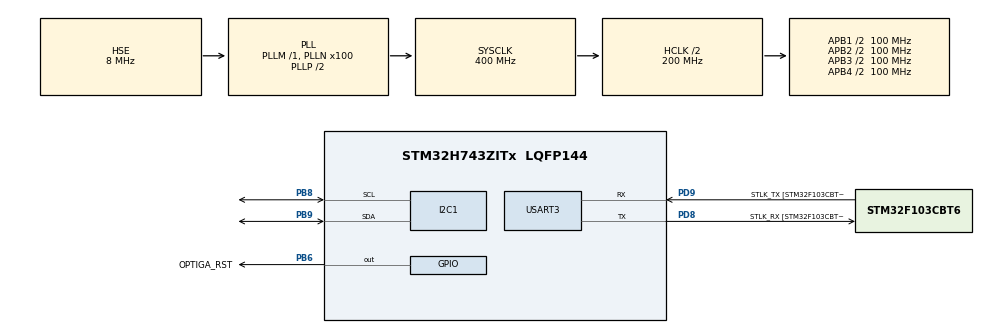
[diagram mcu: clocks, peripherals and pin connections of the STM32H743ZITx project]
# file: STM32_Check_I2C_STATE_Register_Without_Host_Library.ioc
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I2C1.Timing=0x10C0ECFF
Mcu.Family=STM32H7
Mcu.Name=STM32H743ZITx
Mcu.Package=LQFP144
NVIC.PriorityGroup=NVIC_PRIORITYGROUP_4
PA13\ (JTMS/SWDIO).GPIO_Label=TMS
PA13\ (JTMS/SWDIO).Mode=Trace_Asynchronous_SW
PA13\ (JTMS/SWDIO).Signal=DEBUG_JTMS-SWDIO
PA14\ (JTCK/SWCLK).GPIO_Label=TCK
PA14\ (JTCK/SWCLK).Mode=Trace_Asynchronous_SW
PA14\ (JTCK/SWCLK).Signal=DEBUG_JTCK-SWCLK
PB3\ (JTDO/TRACESWO).GPIO_Label=SWO
PB3\ (JTDO/TRACESWO).Mode=Trace_Asynchronous_SW
PB3\ (JTDO/TRACESWO).Signal=DEBUG_JTDO-SWO
PB6.GPIO_Label=OPTIGA_RST
PB6.Signal=GPIO_Output
PB8.Mode=I2C
PB8.Signal=I2C1_SCL
PB9.Mode=I2C
PB9.Signal=I2C1_SDA
PC14-OSC32_IN\ (OSC32_IN).Mode=LSE-External-Oscillator
PC14-OSC32_IN\ (OSC32_IN).Signal=RCC_OSC32_IN
PC15-OSC32_OUT\ (OSC32_OUT).Mode=LSE-External-Oscillator
PC15-OSC32_OUT\ (OSC32_OUT).Signal=RCC_OSC32_OUT
PD8.GPIO_Label=STLK_RX [STM32F103CBT6_PA3]
PD8.Mode=Asynchronous
PD8.Signal=USART3_TX
PD9.GPIO_Label=STLK_TX [STM32F103CBT6_PA2]
PD9.Mode=Asynchronous
PD9.Signal=USART3_RX
PH0-OSC_IN\ (PH0).GPIO_Label=MCO
PH0-OSC_IN\ (PH0).Mode=HSE-External-Clock-Source
PH0-OSC_IN\ (PH0).Signal=RCC_OSC_IN
ProjectManager.HeapSize=0x4000
ProjectManager.StackSize=0x4000
ProjectManager.TargetToolchain=STM32CubeIDE
RCC.48MHZClocksFreq_Value=24000000
RCC.ADCFreq_Value=16125000
RCC.AHBFreq_Value=216000000
RCC.APB1CLKDivider=RCC_HCLK_DIV4
RCC.APB1Freq_Value=100000000
RCC.APB1TimFreq_Value=108000000
RCC.APB2CLKDivider=RCC_HCLK_DIV2
RCC.APB2Freq_Value=100000000
RCC.APB2TimFreq_Value=216000000
RCC.APB3Freq_Value=100000000
RCC.APB4Freq_Value=100000000
RCC.CortexFreq_Value=400000000
RCC.D1PPRE=RCC_APB3_DIV2
RCC.D2PPRE1=RCC_APB1_DIV2
RCC.D2PPRE2=RCC_APB2_DIV2
RCC.D3PPRE=RCC_APB4_DIV2
RCC.DIVM1=1
RCC.DIVN1=100
RCC.DIVQ1=4
RCC.HCLKFreq_Value=200000000
RCC.HPRE=RCC_HCLK_DIV2
RCC.HSE_VALUE=8000000
RCC.HSI_VALUE=64000000
RCC.PLLFRACN=0
RCC.PLLM=25
RCC.PLLMUL=RCC_PLL_MUL9
RCC.PLLN=432
RCC.PLLQ=9
RCC.PLLSourceVirtual=RCC_PLLSOURCE_HSE
RCC.PRESCALERUSB=RCC_USBCLKSOURCE_PLL_DIV1_5
RCC.PWR_Regulator_Voltage_Scale=PWR_REGULATOR_VOLTAGE_SCALE1
RCC.SYSCLKFreq_VALUE=400000000
RCC.SYSCLKSource=RCC_SYSCLKSOURCE_PLLCLK
RCC.SYSCLKSourceVirtual=RCC_SYSCLKSOURCE_PLLCLK
RCC.USBFreq_Value=200000000
RCC.VCOOutputFreq_Value=432000000
USART3.VirtualMode-Asynchronous=VM_ASYNC
board=NUCLEO-H743ZI

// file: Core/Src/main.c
/* USER CODE BEGIN Header */
/**
  ******************************************************************************
  * @file           : main.c
  * @brief          : Main program body
  ******************************************************************************
  * @attention
  *
  * Copyright (c) 2024 STMicroelectronics.
  * All rights reserved.
  *
  * This software is licensed under terms that can be found in the LICENSE file
  * in the root directory of this software component.
  * If no LICENSE file comes with this software, it is provided AS-IS.
  *
  ******************************************************************************
  */
/* USER CODE END Header */
#include "main.h"

/* USER CODE BEGIN Includes */
#include <stdio.h>
/* USER CODE END Includes */

I2C_HandleTypeDef hi2c1;

UART_HandleTypeDef huart3;

void SystemClock_Config(void);
static void MX_GPIO_Init(void);
static void MX_I2C1_Init(void);
static void MX_USART3_UART_Init(void);

/* USER CODE BEGIN 0 */

#define PUTCHAR_PROTOTYPE int __io_putchar(int ch)

PUTCHAR_PROTOTYPE
{
    HAL_UART_Transmit(&huart3, (uint8_t *)&ch, 1, 0xFFFF);
    return ch;
}

/* USER CODE END 0 */

int main(void)
{

  /* MCU Configuration--------------------------------------------------------*/

  /* Reset of all peripherals, Initializes the Flash interface and the Systick. */
  HAL_Init();

  /* Configure the system clock */
  SystemClock_Config();

  /* Initialize all configured peripherals */
  MX_GPIO_Init();
  MX_I2C1_Init();
  MX_USART3_UART_Init();

  /* Infinite loop */
  /* USER CODE BEGIN WHILE */
  HAL_GPIO_WritePin(OPTIGA_RST_GPIO_Port, OPTIGA_RST_Pin, GPIO_PIN_RESET);
  HAL_Delay(1);
  HAL_GPIO_WritePin(OPTIGA_RST_GPIO_Port, OPTIGA_RST_Pin, GPIO_PIN_SET);
  HAL_Delay(20);

  uint8_t ADDR = 0x30;
  uint8_t Write_Data[1] = {0x82};
  uint8_t Read_Data[5] = {0};
  while (1)
  {
    while(HAL_I2C_Master_Transmit(&hi2c1, ADDR<<1, Write_Data, 1, 1000) != HAL_OK) { }
    while(HAL_I2C_Master_Receive(&hi2c1, ADDR<<1, Read_Data, 4, 1000) != HAL_OK) { }
    printf("%02x %02x %02x %02x\n", Read_Data[0], Read_Data[1], Read_Data[2], Read_Data[3]);
    HAL_Delay(50);
    /* USER CODE END WHILE */

  }
}

void SystemClock_Config(void)
{
  RCC_OscInitTypeDef RCC_OscInitStruct = {0};
  RCC_ClkInitTypeDef RCC_ClkInitStruct = {0};

  /** Supply configuration update enable
  */
  HAL_PWREx_ConfigSupply(PWR_LDO_SUPPLY);

  /** Configure the main internal regulator output voltage
  */
  __HAL_PWR_VOLTAGESCALING_CONFIG(PWR_REGULATOR_VOLTAGE_SCALE1);

  while(!__HAL_PWR_GET_FLAG(PWR_FLAG_VOSRDY)) {}

  /** Initializes the RCC Oscillators according to the specified parameters
  * in the RCC_OscInitTypeDef structure.
  */
  RCC_OscInitStruct.OscillatorType = RCC_OSCILLATORTYPE_HSE;
  RCC_OscInitStruct.HSEState = RCC_HSE_BYPASS;
  RCC_OscInitStruct.PLL.PLLState = RCC_PLL_ON;
  RCC_OscInitStruct.PLL.PLLSource = RCC_PLLSOURCE_HSE;
  RCC_OscInitStruct.PLL.PLLM = 1;
  RCC_OscInitStruct.PLL.PLLN = 100;
  RCC_OscInitStruct.PLL.PLLP = 2;
  RCC_OscInitStruct.PLL.PLLQ = 4;
  RCC_OscInitStruct.PLL.PLLR = 2;
  RCC_OscInitStruct.PLL.PLLRGE = RCC_PLL1VCIRANGE_3;
  RCC_OscInitStruct.PLL.PLLVCOSEL = RCC_PLL1VCOWIDE;
  RCC_OscInitStruct.PLL.PLLFRACN = 0;
  if (HAL_RCC_OscConfig(&RCC_OscInitStruct) != HAL_OK)
  {
    Error_Handler();
  }

  /** Initializes the CPU, AHB and APB buses clocks
  */
  RCC_ClkInitStruct.ClockType = RCC_CLOCKTYPE_HCLK|RCC_CLOCKTYPE_SYSCLK
                              |RCC_CLOCKTYPE_PCLK1|RCC_CLOCKTYPE_PCLK2
                              |RCC_CLOCKTYPE_D3PCLK1|RCC_CLOCKTYPE_D1PCLK1;
  RCC_ClkInitStruct.SYSCLKSource = RCC_SYSCLKSOURCE_PLLCLK;
  RCC_ClkInitStruct.SYSCLKDivider = RCC_SYSCLK_DIV1;
  RCC_ClkInitStruct.AHBCLKDivider = RCC_HCLK_DIV2;
  RCC_ClkInitStruct.APB3CLKDivider = RCC_APB3_DIV2;
  RCC_ClkInitStruct.APB1CLKDivider = RCC_APB1_DIV2;
  RCC_ClkInitStruct.APB2CLKDivider = RCC_APB2_DIV2;
  RCC_ClkInitStruct.APB4CLKDivider = RCC_APB4_DIV2;

  if (HAL_RCC_ClockConfig(&RCC_ClkInitStruct, FLASH_LATENCY_2) != HAL_OK)
  {
    Error_Handler();
  }
}

static void MX_I2C1_Init(void)
{

  hi2c1.Instance = I2C1;
  hi2c1.Init.Timing = 0x10C0ECFF;
  hi2c1.Init.OwnAddress1 = 0;
  hi2c1.Init.AddressingMode = I2C_ADDRESSINGMODE_7BIT;
  hi2c1.Init.DualAddressMode = I2C_DUALADDRESS_DISABLE;
  hi2c1.Init.OwnAddress2 = 0;
  hi2c1.Init.OwnAddress2Masks = I2C_OA2_NOMASK;
  hi2c1.Init.GeneralCallMode = I2C_GENERALCALL_DISABLE;
  hi2c1.Init.NoStretchMode = I2C_NOSTRETCH_DISABLE;
  if (HAL_I2C_Init(&hi2c1) != HAL_OK)
  {
    Error_Handler();
  }

  /** Configure Analogue filter
  */
  if (HAL_I2CEx_ConfigAnalogFilter(&hi2c1, I2C_ANALOGFILTER_ENABLE) != HAL_OK)
  {
    Error_Handler();
  }

  /** Configure Digital filter
  */
  if (HAL_I2CEx_ConfigDigitalFilter(&hi2c1, 0) != HAL_OK)
  {
    Error_Handler();
  }

}

static void MX_USART3_UART_Init(void)
{

  huart3.Instance = USART3;
  huart3.Init.BaudRate = 115200;
  huart3.Init.WordLength = UART_WORDLENGTH_8B;
  huart3.Init.StopBits = UART_STOPBITS_1;
  huart3.Init.Parity = UART_PARITY_NONE;
  huart3.Init.Mode = UART_MODE_TX_RX;
  huart3.Init.HwFlowCtl = UART_HWCONTROL_NONE;
  huart3.Init.OverSampling = UART_OVERSAMPLING_16;
  huart3.Init.OneBitSampling = UART_ONE_BIT_SAMPLE_DISABLE;
  huart3.Init.ClockPrescaler = UART_PRESCALER_DIV1;
  huart3.AdvancedInit.AdvFeatureInit = UART_ADVFEATURE_NO_INIT;
  if (HAL_UART_Init(&huart3) != HAL_OK)
  {
    Error_Handler();
  }
  if (HAL_UARTEx_SetTxFifoThreshold(&huart3, UART_TXFIFO_THRESHOLD_1_8) != HAL_OK)
  {
    Error_Handler();
  }
  if (HAL_UARTEx_SetRxFifoThreshold(&huart3, UART_RXFIFO_THRESHOLD_1_8) != HAL_OK)
  {
    Error_Handler();
  }
  if (HAL_UARTEx_DisableFifoMode(&huart3) != HAL_OK)
  {
    Error_Handler();
  }

}

static void MX_GPIO_Init(void)
{
  GPIO_InitTypeDef GPIO_InitStruct = {0};

  /* GPIO Ports Clock Enable */
  __HAL_RCC_GPIOC_CLK_ENABLE();
  __HAL_RCC_GPIOH_CLK_ENABLE();
  __HAL_RCC_GPIOD_CLK_ENABLE();
  __HAL_RCC_GPIOA_CLK_ENABLE();
  __HAL_RCC_GPIOB_CLK_ENABLE();

  /*Configure GPIO pin Output Level */
  HAL_GPIO_WritePin(OPTIGA_RST_GPIO_Port, OPTIGA_RST_Pin, GPIO_PIN_RESET);

  /*Configure GPIO pin : OPTIGA_RST_Pin */
  GPIO_InitStruct.Pin = OPTIGA_RST_Pin;
  GPIO_InitStruct.Mode = GPIO_MODE_OUTPUT_PP;
  GPIO_InitStruct.Pull = GPIO_NOPULL;
  GPIO_InitStruct.Speed = GPIO_SPEED_FREQ_LOW;
  HAL_GPIO_Init(OPTIGA_RST_GPIO_Port, &GPIO_InitStruct);

}

void Error_Handler(void)
{
  __disable_irq();
  while (1)
  {
  }
}
